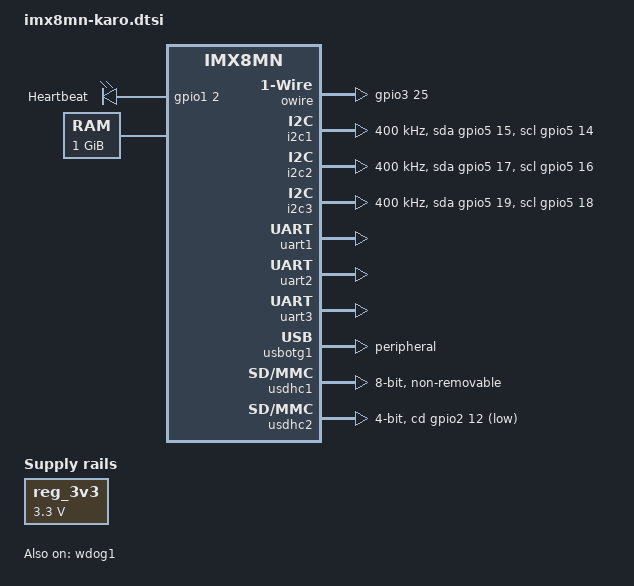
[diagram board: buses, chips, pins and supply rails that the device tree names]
// SPDX-License-Identifier: (GPL-2.0 OR MIT)
/*
 * Copyright (C) 2021 Lothar Waßmann <LW@KARO-electronics.de>
 *
 */

#include "imx8mn.dtsi"

/ {
	compatible = "karo,imx8mn-tx8m", "fsl,imx8mn";

	aliases {
		i2c0 = &i2c1;
		i2c1 = &i2c2;
		i2c2 = &i2c3;
		mmc0 = &usdhc1;
		mmc1 = &usdhc2;
		usbotg = &usbotg1;
	};

	chosen {
		stdout-path = "serial0:115200n8";
	};

	leds {
		compatible = "gpio-leds";

		led {
			label = "Heartbeat";
			pinctrl-names = "default";
			pinctrl-0 = <&pinctrl_led>;
			gpios = <&gpio1 2 GPIO_ACTIVE_HIGH>;
			linux,default-trigger = "heartbeat";
		};
	};

	memory@40000000 {
		device_type = "memory";
		reg = <0x0 0x40000000 0 0x40000000>;
	};

	owire {
		compatible = "w1-gpio";
		pinctrl-names = "default";
		pinctrl-0 = <&pinctrl_owire>;
		gpios = <&gpio3 25 GPIO_ACTIVE_HIGH>;
		linux,open-drain;
	};

	reg_3v3: regulator-3v3 {
		compatible = "regulator-fixed";
		regulator-name = "3v3";
		regulator-min-microvolt = <3300000>;
		regulator-max-microvolt = <3300000>;
		regulator-always-on;
	};

	usbg1: usbg1 {
		compatible = "fsl,imx27-usb-gadget";
		dr_mode = "peripheral";
		chipidea,usb = <&usbotg1>;
		status = "okay";
	};
};

&i2c1 {
	pinctrl-names = "default", "gpio";
	pinctrl-0 = <&pinctrl_i2c1>;
	pinctrl-1 = <&pinctrl_i2c1_gpio>;
	scl-gpios = <&gpio5 14 GPIO_ACTIVE_HIGH>;
	sda-gpios = <&gpio5 15 GPIO_ACTIVE_HIGH>;
	clock-frequency = <400000>;
	status = "okay";
};

&i2c2 {
	pinctrl-names = "default", "gpio";
	pinctrl-0 = <&pinctrl_i2c2>;
	pinctrl-1 = <&pinctrl_i2c2_gpio>;
	scl-gpios = <&gpio5 16 GPIO_ACTIVE_HIGH>;
	sda-gpios = <&gpio5 17 GPIO_ACTIVE_HIGH>;
	clock-frequency = <400000>;
	status = "okay";
};

&i2c3 {
	pinctrl-names = "default", "gpio";
	pinctrl-0 = <&pinctrl_i2c3>;
	pinctrl-1 = <&pinctrl_i2c3_gpio>;
	scl-gpios = <&gpio5 18 GPIO_ACTIVE_HIGH>;
	sda-gpios = <&gpio5 19 GPIO_ACTIVE_HIGH>;
	clock-frequency = <400000>;
	status = "okay";
};

&uart1 { /* console */
	pinctrl-names = "default";
	pinctrl-0 = <&pinctrl_uart1 &pinctrl_uart1_rtscts>;
	uart-has-rtscts;
	status = "okay";
};

&uart2 {
	pinctrl-names = "default";
	pinctrl-0 = <&pinctrl_uart2 &pinctrl_uart2_rtscts>;
	uart-has-rtscts;
	status = "okay";
};

&uart3 {
	pinctrl-names = "default";
	pinctrl-0 = <&pinctrl_uart3 &pinctrl_uart3_rtscts>;
	uart-has-rtscts;
	status = "okay";
};

&usbotg1 {
	dr_mode = "peripheral";
	status = "okay";
};

&usdhc1 { /* eMMC */
	pinctrl-names = "default";
	pinctrl-0 = <&pinctrl_usdhc1>;
	bus-width = <8>;
	non-removable;
	status = "okay";
};

&usdhc2 {
	pinctrl-names = "default", "state_100mhz", "state_200mhz";
	pinctrl-0 = <&pinctrl_usdhc2 &pinctrl_usdhc2_cd>;
	pinctrl-1 = <&pinctrl_usdhc2_100mhz &pinctrl_usdhc2_cd>;
	pinctrl-2 = <&pinctrl_usdhc2_200mhz &pinctrl_usdhc2_cd>;
	bus-width = <4>;
	cd-gpios = <&gpio2 12 GPIO_ACTIVE_LOW>;
	no-1-8-v;
	fsl,wp-controller;
	status = "okay";
};

&wdog1 {
	pinctrl-names = "default";
	status = "okay";
};

&iomuxc {
	pinctrl_i2c1: i2c1grp {
		fsl,pins = <
			MX8MN_IOMUXC_I2C1_SCL_I2C1_SCL			0x400001c2
			MX8MN_IOMUXC_I2C1_SDA_I2C1_SDA			0x400001c2
		>;
	};

	pinctrl_i2c1_gpio: i2c1-gpiogrp {
		fsl,pins = <
			MX8MN_IOMUXC_I2C1_SCL_GPIO5_IO14		0x400001c2
			MX8MN_IOMUXC_I2C1_SDA_GPIO5_IO15		0x400001c2
		>;
	};

	pinctrl_i2c2: i2c2grp {
		fsl,pins = <
			MX8MN_IOMUXC_I2C2_SCL_I2C2_SCL			0x400001c2
			MX8MN_IOMUXC_I2C2_SDA_I2C2_SDA			0x400001c2
		>;
	};

	pinctrl_i2c2_gpio: i2c2-gpiogrp {
		fsl,pins = <
			MX8MN_IOMUXC_I2C2_SCL_GPIO5_IO16		0x400001c2
			MX8MN_IOMUXC_I2C2_SDA_GPIO5_IO17		0x400001c2
		>;
	};

	pinctrl_i2c3: i2c3grp {
		fsl,pins = <
			MX8MN_IOMUXC_I2C3_SCL_I2C3_SCL			0x400001c2
			MX8MN_IOMUXC_I2C3_SDA_I2C3_SDA			0x400001c2
		>;
	};

	pinctrl_i2c3_gpio: i2c3-gpiogrp {
		fsl,pins = <
			MX8MN_IOMUXC_I2C3_SCL_GPIO5_IO18		0x400001c2
			MX8MN_IOMUXC_I2C3_SDA_GPIO5_IO19		0x400001c2
		>;
	};

	pinctrl_led: ledgrp {
		fsl,pins = <
			MX8MN_IOMUXC_GPIO1_IO02_GPIO1_IO2		0x06
		>;
	};

	pinctrl_owire: owiregrp {
		fsl,pins = <
			MX8MN_IOMUXC_SAI5_MCLK_GPIO3_IO25		0x400001c0
		>;
	};

	pinctrl_pmic: pmicgrp {
		fsl,pins = <
			MX8MN_IOMUXC_GPIO1_IO03_GPIO1_IO3		0x1c0
		>;
	};

	pinctrl_uart1: uart1grp {
		fsl,pins = <
			MX8MN_IOMUXC_UART1_RXD_UART1_DCE_RX		0x140
			MX8MN_IOMUXC_UART1_TXD_UART1_DCE_TX		0x140
		>;
	};

	pinctrl_uart1_rtscts: uart1-rtsctsgrp {
		fsl,pins = <
			MX8MN_IOMUXC_UART3_TXD_UART1_DCE_RTS_B		0x140
			MX8MN_IOMUXC_UART3_RXD_UART1_DCE_CTS_B		0x140
		>;
	};

	pinctrl_uart2: uart2grp {
		fsl,pins = <
			MX8MN_IOMUXC_UART2_RXD_UART2_DCE_RX		0x140
			MX8MN_IOMUXC_UART2_TXD_UART2_DCE_TX		0x140
		>;
	};

	pinctrl_uart2_rtscts: uart2-rtsctsgrp {
		fsl,pins = <
			MX8MN_IOMUXC_UART4_TXD_UART2_DCE_RTS_B		0x140
			MX8MN_IOMUXC_UART4_RXD_UART2_DCE_CTS_B		0x140
		>;
	};

	pinctrl_uart3: uart3grp {
		fsl,pins = <
			MX8MN_IOMUXC_ECSPI1_SCLK_UART3_DCE_RX		0x140
			MX8MN_IOMUXC_ECSPI1_MOSI_UART3_DCE_TX		0x140
		>;
	};

	pinctrl_uart3_rtscts: uart3-rtsctsgrp {
		fsl,pins = <
			MX8MN_IOMUXC_ECSPI1_SS0_UART3_DCE_RTS_B		0x140
			MX8MN_IOMUXC_ECSPI1_MISO_UART3_DCE_CTS_B	0x140
		>;
	};

	pinctrl_usdhc1: usdhc1grp {
		fsl,pins = <
			MX8MN_IOMUXC_SD1_CLK_USDHC1_CLK			0x110
			MX8MN_IOMUXC_SD1_CMD_USDHC1_CMD			0x150
			MX8MN_IOMUXC_SD1_DATA0_USDHC1_DATA0		0x150
			MX8MN_IOMUXC_SD1_DATA1_USDHC1_DATA1		0x150
			MX8MN_IOMUXC_SD1_DATA2_USDHC1_DATA2		0x150
			MX8MN_IOMUXC_SD1_DATA3_USDHC1_DATA3		0x150
			MX8MN_IOMUXC_SD1_DATA4_USDHC1_DATA4		0x150
			MX8MN_IOMUXC_SD1_DATA5_USDHC1_DATA5		0x150
			MX8MN_IOMUXC_SD1_DATA6_USDHC1_DATA6		0x150
			MX8MN_IOMUXC_SD1_DATA7_USDHC1_DATA7		0x150
			MX8MN_IOMUXC_SD1_STROBE_USDHC1_STROBE		0x156
			MX8MN_IOMUXC_SD1_RESET_B_USDHC1_RESET_B		0x156
		>;
	};

	pinctrl_usdhc2: usdhc2grp {
		fsl,pins = <
			MX8MN_IOMUXC_SD2_CLK_USDHC2_CLK			0x110
			MX8MN_IOMUXC_SD2_CMD_USDHC2_CMD			0x150
			MX8MN_IOMUXC_SD2_DATA0_USDHC2_DATA0		0x150
			MX8MN_IOMUXC_SD2_DATA1_USDHC2_DATA1		0x150
			MX8MN_IOMUXC_SD2_DATA2_USDHC2_DATA2		0x150
			MX8MN_IOMUXC_SD2_DATA3_USDHC2_DATA3		0x150
		>;
	};

	pinctrl_usdhc2_100mhz: usdhc2grp100mhz {
		fsl,pins = <
			MX8MN_IOMUXC_SD2_CLK_USDHC2_CLK			0x114
			MX8MN_IOMUXC_SD2_CMD_USDHC2_CMD			0x154
			MX8MN_IOMUXC_SD2_DATA0_USDHC2_DATA0		0x154
			MX8MN_IOMUXC_SD2_DATA1_USDHC2_DATA1		0x154
			MX8MN_IOMUXC_SD2_DATA2_USDHC2_DATA2		0x154
			MX8MN_IOMUXC_SD2_DATA3_USDHC2_DATA3		0x154
		>;
	};

	pinctrl_usdhc2_200mhz: usdhc2grp200mhz {
		fsl,pins = <
			MX8MN_IOMUXC_SD2_CLK_USDHC2_CLK			0x116
			MX8MN_IOMUXC_SD2_CMD_USDHC2_CMD			0x156
			MX8MN_IOMUXC_SD2_DATA0_USDHC2_DATA0		0x156
			MX8MN_IOMUXC_SD2_DATA1_USDHC2_DATA1		0x156
			MX8MN_IOMUXC_SD2_DATA2_USDHC2_DATA2		0x156
			MX8MN_IOMUXC_SD2_DATA3_USDHC2_DATA3		0x156
		>;
	};

	pinctrl_usdhc2_cd: usdhc2-cdgrp {
		fsl,pins = <
			MX8MN_IOMUXC_SD2_CD_B_GPIO2_IO12		0x1c0
		>;
	};
};
